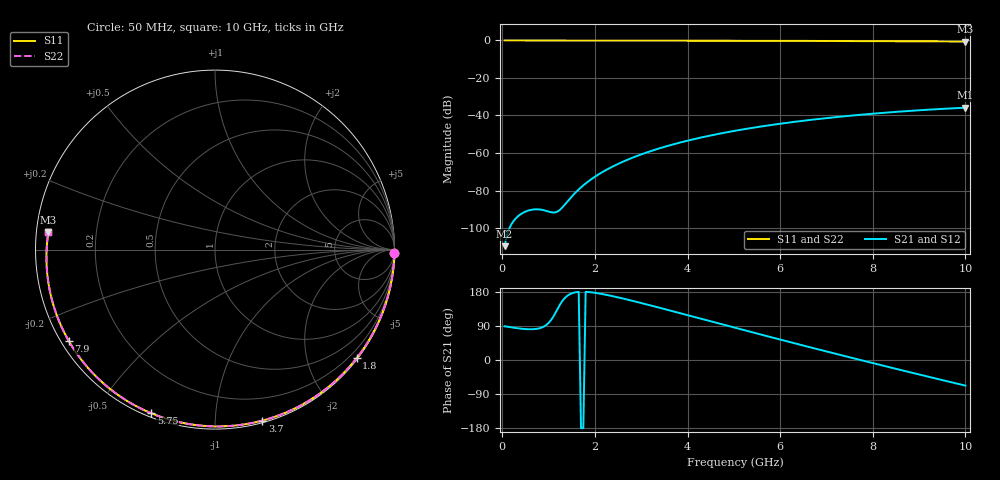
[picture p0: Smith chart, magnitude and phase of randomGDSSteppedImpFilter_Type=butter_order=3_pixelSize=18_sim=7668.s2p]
! freq	dB(S11)	phase(S11)	dB(S12)	phase(S12)
!  dB(S21)	phase(S21)	dB(S22)	phase(S22)
!S-par simulation data
#  GHz  S  DB  R 50
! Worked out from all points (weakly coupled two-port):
!   200 points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, 50 MHz to 10 GHz, reference 50 ohm
!   highest |S21| = -35.85 dB at 10 GHz (marker M1); lowest = -109.7 dB at 50 MHz (marker M2)
!   lowest |S11| = -0.6 dB at 10 GHz (marker M3), VSWR 29.06, Z = 1.73 + j2.64 ohm
!   |S11| at or under -10 dB: nowhere
!   |S22| runs from -0.6 to 0.0 dB; largest |S21 - S12| = 0
!   S11 on the Smith chart (normalised r, x): 50 MHz: open; 1.8 GHz: 0.03, -2.95; 3.7 GHz: 0.02, -1.31; 5.75 GHz: 0.02, -0.68; 7.9 GHz: 0.02, -0.29; 10 GHz: 0.03, +0.05
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0.05  -0.00 -1.1  -109.67 89.0  -109.67 89.0  -0.00 -1.1
0.4  -0.01 -8.5  -92.59 82.7  -92.59 82.7  -0.01 -8.5
0.8  -0.02 -16.9  -90.10 83.7  -90.10 83.7  -0.02 -16.9
1.2  -0.03 -25.2  -91.12 136.3  -91.12 136.3  -0.03 -25.2
1.6  -0.04 -33.4  -80.62 179.0  -80.62 179.0  -0.04 -33.4
1.65  -0.04 -34.4  -79.43 179.8  -79.43 179.8  -0.04 -34.4
1.75  -0.05 -36.4  -77.25 -179.8  -77.25 -179.8  -0.05 -36.4
1.8  -0.05 -37.4  -76.24 179.9  -76.24 179.9  -0.05 -37.4
2.1  -0.06 -43.5  -71.09 175.4  -71.09 175.4  -0.06 -43.5
2.5  -0.07 -51.4  -65.82 165.2  -65.82 165.2  -0.07 -51.4
2.9  -0.08 -59.3  -61.66 153.4  -61.66 153.4  -0.08 -59.3
3.4  -0.09 -68.9  -57.47 137.7  -57.47 137.7  -0.09 -68.9
3.7  -0.10 -74.5  -55.34 128.1  -55.34 128.1  -0.10 -74.5
4.35  -0.12 -86.5  -51.44 107.0  -51.44 107.0  -0.12 -86.5
5.05  -0.15 -99.0  -48.05 84.3  -48.05 84.3  -0.15 -99.0
5.75  -0.19 -111.3  -45.27 61.9  -45.27 61.9  -0.19 -111.3
6.7  -0.25 -127.6  -42.23 31.9  -42.23 31.9  -0.25 -127.6
7.3  -0.30 -137.8  -40.64 13.3  -40.64 13.3  -0.30 -137.8
7.9  -0.35 -148.0  -39.26 -5.1  -39.26 -5.1  -0.35 -148.0
8.35  -0.40 -155.8  -38.35 -18.8  -38.35 -18.8  -0.40 -155.8
9.2  -0.49 -171.0  -36.91 -44.2  -36.91 -44.2  -0.49 -171.0
10  -0.60 174.0  -35.85 -67.6  -35.85 -67.6  -0.60 174.0
